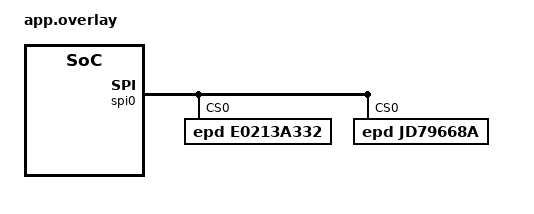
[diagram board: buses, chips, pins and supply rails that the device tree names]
/* Copyright Statement:
 *
 * (C) 2025  Airoha Technology Corp. All rights reserved.
 *
 * This software/firmware and related documentation ("Airoha Software") are
 * protected under relevant copyright laws. The information contained herein
 * is confidential and proprietary to Airoha Technology Corp. ("Airoha") and/or its licensors.
 * Without the prior written permission of Airoha and/or its licensors,
 * any reproduction, modification, use or disclosure of Airoha Software,
 * and information contained herein, in whole or in part, shall be strictly prohibited.
 * You may only use, reproduce, modify, or distribute (as applicable) Airoha Software
 * if you have agreed to and been bound by the applicable license agreement with
 * Airoha ("License Agreement") and been granted explicit permission to do so within
 * the License Agreement ("Permitted User").  If you are not a Permitted User,
 * please cease any access or use of Airoha Software immediately.
 * BY OPENING THIS FILE, RECEIVER HEREBY UNEQUIVOCALLY ACKNOWLEDGES AND AGREES
 * THAT THE SOFTWARE/FIRMWARE AND ITS DOCUMENTATIONS ("AIROHA SOFTWARE")
 * RECEIVED FROM AIROHA AND/OR ITS REPRESENTATIVES ARE PROVIDED
 * TO RECEIVER ON AN "AS-IS" BASIS ONLY. AIROHA EXPRESSLY DISCLAIMS ANY AND ALL
 * WARRANTIES, EXPRESS OR IMPLIED, INCLUDING BUT NOT LIMITED TO THE IMPLIED WARRANTIES OF
 * MERCHANTABILITY, FITNESS FOR A PARTICULAR PURPOSE OR NONINFRINGEMENT.
 * NEITHER DOES AIROHA PROVIDE ANY WARRANTY WHATSOEVER WITH RESPECT TO THE
 * SOFTWARE OF ANY THIRD PARTY WHICH MAY BE USED BY, INCORPORATED IN, OR
 * SUPPLIED WITH AIROHA SOFTWARE, AND RECEIVER AGREES TO LOOK ONLY TO SUCH
 * THIRD PARTY FOR ANY WARRANTY CLAIM RELATING THERETO. RECEIVER EXPRESSLY ACKNOWLEDGES
 * THAT IT IS RECEIVER'S SOLE RESPONSIBILITY TO OBTAIN FROM ANY THIRD PARTY ALL PROPER LICENSES
 * CONTAINED IN AIROHA SOFTWARE. AIROHA SHALL ALSO NOT BE RESPONSIBLE FOR ANY AIROHA
 * SOFTWARE RELEASES MADE TO RECEIVER'S SPECIFICATION OR TO CONFORM TO A PARTICULAR
 * STANDARD OR OPEN FORUM. RECEIVER'S SOLE AND EXCLUSIVE REMEDY AND AIROHA'S ENTIRE AND
 * CUMULATIVE LIABILITY WITH RESPECT TO AIROHA SOFTWARE RELEASED HEREUNDER WILL BE,
 * AT AIROHA'S OPTION, TO REVISE OR REPLACE AIROHA SOFTWARE AT ISSUE,
 * OR REFUND ANY SOFTWARE LICENSE FEES OR SERVICE CHARGE PAID BY RECEIVER TO
 * AIROHA FOR SUCH AIROHA SOFTWARE AT ISSUE.
 */

/* SPDX-License-Identifier: Apache-2.0 */

#include <airoha/ab161x/flash_partitions/dual_slot_1MB_w_images.dtsi>

&spi0 {
    frequency = <1000000>;
    status = "okay";
    e0213a332: e0213a332@0{
        compatible = "epd,e0213a332";
        reg= <0>;
        rst_pin = <24>;
        busy_pin = <4>;
        dc_pin = <20>;
        status = "okay";
    };

    jd79668a: jd79668a@0{
        compatible = "epd,jd79668a";
        reg= <0>;
        rst_pin = <24>;
        busy_pin = <4>;
        dc_pin = <20>;
        status = "okay";
    };
};

&pinctrl {
    gpio0_default: gpio0_default {
        gpio0{
            pinmux = <GPIO_0_AP_JTMS>; //jtag
        };
        gpio1{
            pinmux = <GPIO_1_AP_JTCK>; //jtag
        };
        /* Disable Uart0 for controller Debug.*/
        gpio2{
            pinmux = <GPIO_2_UART0_RXD>; //uart0 rx
            bias-pull-up;
        };
        gpio3{
            pinmux = <GPIO_3_UART0_TXD>; //uart0 tx
            output-enable;
        };
        /*
        gpio2{
            pinmux = <GPIO_2_DEBUGMON2>; //Controller debug BLE RX en signal
        };
        gpio3{
            pinmux = <GPIO_3_DEBUGMON3>; //Controller debug BLE TX en signal
        };
        */
        gpio4{
            pinmux = <GPIO_4_GPIO4_EINT4>; //EPD BUSY
        };
        gpio19{
            pinmux = <GPIO_9_SPI0_SCK>; // SPI pin.
        };
        gpio20{
            pinmux = <GPIO_10_GPIO20_EINT20>; // SPI pin.
            output-enable;
        };
        gpio21{
            pinmux = <GPIO_11_SPI0_MOSI>; // SPI pin.
        };
        gpio22{
            pinmux = <GPIO_12_SPI0_CS0>; // SPI pin.
            bias-pull-up;
        };
        gpio23{
            pinmux = <GPIO_13_GPIO23_EINT23>; // Controller IDS debug pin.
            output-enable;
        };
        gpio24{
            pinmux = <GPIO_14_GPIO24_EINT24>; // EPD RST pin
            bias-pull-up;
            output-enable;
        };
        gpio38{
            pinmux = <GPIO_22_GPIO38_EINT38>; // Controller IDS debug pin.
            output-enable;
        };
        gpio39{
            pinmux = <GPIO_23_GPIO39_EINT39>; // EPD POWER ON
            output-enable;
            output-high;
        };
        gpio46{
            pinmux = <GPIO_26_UART1_TXD>; // UART1 TX
            output-enable;
        };
        gpio47{
            pinmux = <GPIO_27_UART1_RXD>; // UART1 RX
            bias-pull-up;
        };
    };

    gpio1_default: gpio1_default {

    };
};
